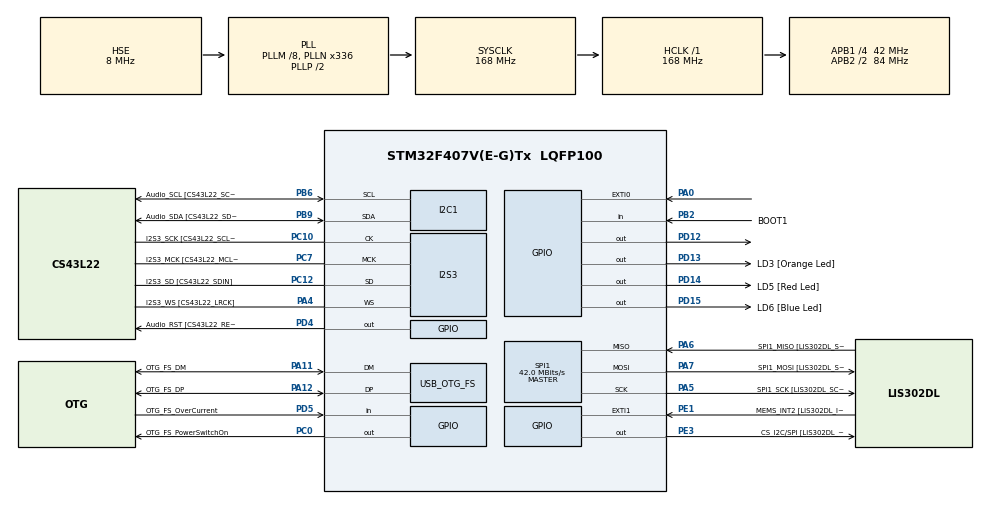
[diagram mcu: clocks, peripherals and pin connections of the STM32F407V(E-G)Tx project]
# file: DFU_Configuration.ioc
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I2S3.AudioFreq=I2S_AUDIOFREQ_96K
I2S3.AudioFreq-Half_Duplex_Master=I2S_AUDIOFREQ_96K
I2S3.ErrorAudioFreq=-2.34 %
I2S3.ErrorAudioFreq-Half_Duplex_Master=0.8 %
I2S3.FullDuplexMode=I2S_FULLDUPLEXMODE_DISABLE
I2S3.Instance=SPI$Index
I2S3.RealAudioFreq=93.75 KHz
I2S3.RealAudioFreq-Half_Duplex_Master=96.774 KHz
I2S3.VirtualMode=I2S_MODE_MASTER
Mcu.Family=STM32F4
Mcu.Name=STM32F407V(E-G)Tx
Mcu.Package=LQFP100
NVIC.EXTI0_IRQn=true\:0\:0\:false\:false\:true\:true\:true\:true
NVIC.OTG_FS_IRQn=true\:0\:0\:false\:false\:true\:true\:true\:true
NVIC.PriorityGroup=NVIC_PRIORITYGROUP_0
PA0-WKUP.GPIO_ModeDefaultEXTI=GPIO_MODE_IT_RISING
PA0-WKUP.GPIO_PuPd=GPIO_PULLUP
PA0-WKUP.Signal=GPXTI0
PA10.GPIO_Label=OTG_FS_ID
PA10.GPIO_Mode=GPIO_MODE_AF_PP
PA10.GPIO_PuPd=GPIO_NOPULL
PA10.GPIO_Speed=GPIO_SPEED_FREQ_LOW
PA10.Signal=USB_OTG_FS_ID
PA11.GPIO_Label=OTG_FS_DM
PA11.GPIO_Mode=GPIO_MODE_AF_PP
PA11.GPIO_PuPd=GPIO_NOPULL
PA11.GPIO_Speed=GPIO_SPEED_FREQ_LOW
PA11.Mode=Device_Only
PA11.Signal=USB_OTG_FS_DM
PA12.GPIO_Label=OTG_FS_DP
PA12.GPIO_Mode=GPIO_MODE_AF_PP
PA12.GPIO_PuPd=GPIO_NOPULL
PA12.GPIO_Speed=GPIO_SPEED_FREQ_LOW
PA12.Mode=Device_Only
PA12.Signal=USB_OTG_FS_DP
PA13.GPIO_Label=SWDIO
PA13.Mode=Trace_Asynchronous_SW
PA13.Signal=SYS_JTMS-SWDIO
PA14.GPIO_Label=SWCLK
PA14.Mode=Trace_Asynchronous_SW
PA14.Signal=SYS_JTCK-SWCLK
PA4.GPIO_Label=I2S3_WS [CS43L22_LRCK]
PA4.GPIO_Mode=GPIO_MODE_AF_PP
PA4.GPIO_PuPd=GPIO_NOPULL
PA4.GPIO_Speed=GPIO_SPEED_FREQ_LOW
PA4.Mode=Half_Duplex_Master
PA4.Signal=I2S3_WS
PA5.GPIO_Label=SPI1_SCK [LIS302DL_SCL/SPC]
PA5.GPIO_Mode=GPIO_MODE_AF_PP
PA5.GPIO_PuPd=GPIO_NOPULL
PA5.GPIO_Speed=GPIO_SPEED_FREQ_LOW
PA5.Mode=Full_Duplex_Master
PA5.Signal=SPI1_SCK
PA6.GPIO_Label=SPI1_MISO [LIS302DL_SDO]
PA6.GPIO_Mode=GPIO_MODE_AF_PP
PA6.GPIO_PuPd=GPIO_NOPULL
PA6.GPIO_Speed=GPIO_SPEED_FREQ_LOW
PA6.Mode=Full_Duplex_Master
PA6.Signal=SPI1_MISO
PA7.GPIO_Label=SPI1_MOSI [LIS302DL_SDA/SDI/SDO]
PA7.GPIO_Mode=GPIO_MODE_AF_PP
PA7.GPIO_PuPd=GPIO_NOPULL
PA7.GPIO_Speed=GPIO_SPEED_FREQ_LOW
PA7.Mode=Full_Duplex_Master
PA7.Signal=SPI1_MOSI
PA9.GPIO_Label=VBUS_FS
PA9.GPIO_Mode=GPIO_MODE_INPUT
PA9.GPIO_PuPd=GPIO_NOPULL
PA9.Signal=USB_OTG_FS_VBUS
PB10.GPIO_Label=CLK_IN [MP45DT02_CLK]
PB10.GPIO_Mode=GPIO_MODE_AF_PP
PB10.GPIO_PuPd=GPIO_NOPULL
PB10.GPIO_Speed=GPIO_SPEED_FREQ_LOW
PB10.Signal=I2S2_CK
PB2.GPIO_Label=BOOT1
PB2.GPIO_Mode=GPIO_MODE_INPUT
PB2.GPIO_PuPd=GPIO_NOPULL
PB2.Signal=GPIO_Input
PB3.GPIO_Label=SWO
PB3.Mode=Trace_Asynchronous_SW
PB3.Signal=SYS_JTDO-SWO
PB6.GPIO_Label=Audio_SCL [CS43L22_SCL]
PB6.GPIO_Mode=GPIO_MODE_AF_OD
PB6.GPIO_Pu=GPIO_PULLUP
PB6.GPIO_PuPd=GPIO_NOPULL
PB6.GPIO_Speed=GPIO_SPEED_FREQ_LOW
PB6.Mode=I2C
PB6.Signal=I2C1_SCL
PB9.GPIO_Label=Audio_SDA [CS43L22_SDA]
PB9.GPIO_Mode=GPIO_MODE_AF_OD
PB9.GPIO_Pu=GPIO_PULLUP
PB9.GPIO_PuPd=GPIO_NOPULL
PB9.GPIO_Speed=GPIO_SPEED_FREQ_LOW
PB9.Mode=I2C
PB9.Signal=I2C1_SDA
PC0.GPIO_Label=OTG_FS_PowerSwitchOn
PC0.GPIO_PuPd=GPIO_NOPULL
PC0.GPIO_Speed=GPIO_SPEED_FREQ_LOW
PC0.PinState=GPIO_PIN_SET
PC0.Signal=GPIO_Output
PC10.GPIO_Label=I2S3_SCK [CS43L22_SCLK]
PC10.GPIO_Mode=GPIO_MODE_AF_PP
PC10.GPIO_PuPd=GPIO_NOPULL
PC10.GPIO_Speed=GPIO_SPEED_FREQ_LOW
PC10.Mode=Half_Duplex_Master
PC10.Signal=I2S3_CK
PC12.GPIO_Label=I2S3_SD [CS43L22_SDIN]
PC12.GPIO_Mode=GPIO_MODE_AF_PP
PC12.GPIO_PuPd=GPIO_NOPULL
PC12.GPIO_Speed=GPIO_SPEED_FREQ_LOW
PC12.Mode=Half_Duplex_Master
PC12.Signal=I2S3_SD
PC14-OSC32_IN.GPIO_Label=PC14-OSC32_IN
PC14-OSC32_IN.Signal=RCC_OSC32_IN
PC15-OSC32_OUT.GPIO_Label=PC15-OSC32_OUT
PC15-OSC32_OUT.Signal=RCC_OSC32_OUT
PC3.GPIO_Label=PDM_OUT [MP45DT02_DOUT]
PC3.GPIO_Mode=GPIO_MODE_AF_PP
PC3.GPIO_PuPd=GPIO_NOPULL
PC3.GPIO_Speed=GPIO_SPEED_FREQ_LOW
PC3.Signal=I2S2_SD
PC7.GPIO_Label=I2S3_MCK [CS43L22_MCLK]
PC7.GPIO_Mode=GPIO_MODE_AF_PP
PC7.GPIO_PuPd=GPIO_NOPULL
PC7.GPIO_Speed=GPIO_SPEED_FREQ_LOW
PC7.Mode=Master_Clock_Activated
PC7.Signal=I2S3_MCK
PD12.Signal=GPIO_Output
PD13.GPIO_Label=LD3 [Orange Led]
PD13.GPIO_PuPd=GPIO_NOPULL
PD13.GPIO_Speed=GPIO_SPEED_FREQ_LOW
PD13.Signal=GPIO_Output
PD14.GPIO_Label=LD5 [Red Led]
PD14.GPIO_PuPd=GPIO_NOPULL
PD14.GPIO_Speed=GPIO_SPEED_FREQ_LOW
PD14.Signal=GPIO_Output
PD15.GPIO_Label=LD6 [Blue Led]
PD15.GPIO_PuPd=GPIO_NOPULL
PD15.GPIO_Speed=GPIO_SPEED_FREQ_LOW
PD15.Signal=GPIO_Output
PD4.GPIO_Label=Audio_RST [CS43L22_RESET]
PD4.GPIO_PuPd=GPIO_NOPULL
PD4.GPIO_Speed=GPIO_SPEED_FREQ_LOW
PD4.Signal=GPIO_Output
PD5.GPIO_Label=OTG_FS_OverCurrent
PD5.GPIO_Mode=GPIO_MODE_INPUT
PD5.GPIO_PuPd=GPIO_NOPULL
PD5.Signal=GPIO_Input
PE1.GPIO_Label=MEMS_INT2 [LIS302DL_INT2]
PE1.GPIO_ModeDefaultEXTI=GPIO_MODE_EVT_RISING
PE1.GPIO_PuPd=GPIO_NOPULL
PE1.Signal=GPXTI1
PE3.GPIO_Label=CS_I2C/SPI [LIS302DL_CS_I2C/SPI]
PE3.GPIO_PuPd=GPIO_NOPULL
PE3.GPIO_Speed=GPIO_SPEED_FREQ_LOW
PE3.Signal=GPIO_Output
PH0-OSC_IN.GPIO_Label=PH0-OSC_IN
PH0-OSC_IN.Mode=HSE-External-Oscillator
PH0-OSC_IN.Signal=RCC_OSC_IN
PH1-OSC_OUT.GPIO_Label=PH1-OSC_OUT
PH1-OSC_OUT.Mode=HSE-External-Oscillator
PH1-OSC_OUT.Signal=RCC_OSC_OUT
ProjectManager.HeapSize=0x200
ProjectManager.StackSize=0x400
ProjectManager.TargetToolchain=STM32CubeIDE
RCC.48MHZClocksFreq_Value=48000000
RCC.AHBFreq_Value=168000000
RCC.APB1CLKDivider=RCC_HCLK_DIV4
RCC.APB1Freq_Value=42000000
RCC.APB1TimFreq_Value=84000000
RCC.APB2CLKDivider=RCC_HCLK_DIV2
RCC.APB2Freq_Value=84000000
RCC.APB2TimFreq_Value=168000000
RCC.CortexFreq_Value=168000000
RCC.HCLKFreq_Value=168000000
RCC.HSE_VALUE=8000000
RCC.HSI_VALUE=16000000
RCC.LSE_VALUE=32768
RCC.PLLM=8
RCC.PLLN=336
RCC.PLLQ=7
RCC.SYSCLKFreq_VALUE=168000000
RCC.SYSCLKSource=RCC_SYSCLKSOURCE_PLLCLK
RCC.VCOOutputFreq_Value=336000000
SPI1.BaudRatePrescaler=SPI_BAUDRATEPRESCALER_2
SPI1.BaudRatePrescaler-Full_Duplex_Master=SPI_BAUDRATEPRESCALER_2
SPI1.CalculateBaudRate=42.0 MBits/s
SPI1.CalculateBaudRate-Full_Duplex_Master=42.0 MBits/s
SPI1.Direction=SPI_DIRECTION_2LINES
SPI1.Mode=SPI_MODE_MASTER
SPI1.Mode-Full_Duplex_Master=SPI_MODE_MASTER
SPI1.VirtualType=VM_MASTER
USB_DEVICE.CLASS_NAME_FS=DFU
USB_DEVICE.USBD_DFU_APP_DEFAULT_ADD-DFU_FS=0x08010000
USB_DEVICE.USBD_DFU_MEDIA-DFU_FS=@Internal Flash   /0x08000000/03*016Ka,01*016Kg,01*064Kg,07*128Kg
USB_DEVICE.VirtualMode-DFU_FS=Dfu
USB_DEVICE.VirtualModeFS=Dfu_FS
USB_OTG_FS.VirtualMode=Device_Only
VP_USB_DEVICE_VS_USB_DEVICE_DFU_FS.Mode=DFU_FS
board=STM32F407G-DISC1

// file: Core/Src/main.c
/* USER CODE BEGIN Header */
/**
  ******************************************************************************
  * @file           : main.c
  * @brief          : Main program body
  ******************************************************************************
  * @attention
  *
  * Copyright (c) 2025 STMicroelectronics.
  * All rights reserved.
  *
  * This software is licensed under terms that can be found in the LICENSE file
  * in the root directory of this software component.
  * If no LICENSE file comes with this software, it is provided AS-IS.
  *
  ******************************************************************************
  */
/* USER CODE END Header */
#include "main.h"
#include "usb_device.h"

/* USER CODE BEGIN PTD */
typedef void (*pFunction)(void);
/* USER CODE END PTD */

/* USER CODE BEGIN PM */
#define DFU_BOOT_FLAG 0xDEADBEEF
/* USER CODE END PM */

I2C_HandleTypeDef hi2c1;

I2S_HandleTypeDef hi2s3;

SPI_HandleTypeDef hspi1;

/* USER CODE BEGIN PV */
extern int _bflag;
uint32_t *dfu_boot_flag;
pFunction JumpToApplication;
uint32_t JumpAddress;
int doJump = 1;

/* USER CODE END PV */

void SystemClock_Config(void);
static void MX_GPIO_Init(void);
static void MX_I2C1_Init(void);
static void MX_I2S3_Init(void);
static void MX_SPI1_Init(void);

/* USER CODE BEGIN 0 */
void HAL_GPIO_EXTI_Callback(uint16_t GPIO_Pin) {
    if (GPIO_Pin == GPIO_PIN_0) // If the button
    {
        printf("Trigger\n\r");
        doJump = 1;
    }
}
/* USER CODE END 0 */

int main(void)
{

  /* USER CODE BEGIN 1 */
	 doJump = 0;

  /* USER CODE END 1 */

  /* MCU Configuration--------------------------------------------------------*/

  /* Reset of all peripherals, Initializes the Flash interface and the Systick. */
  HAL_Init();

  /* Configure the system clock */
  SystemClock_Config();

  /* Initialize all configured peripherals */
  MX_GPIO_Init();
  MX_I2C1_Init();
  MX_I2S3_Init();
  MX_SPI1_Init();
  MX_USB_DEVICE_Init();
  /* USER CODE BEGIN 2 */
  printf("Boot loader Start\n\r");
  /* USER CODE END 2 */

  /* Infinite loop */
  /* USER CODE BEGIN WHILE */
  while (1)
  {
	  HAL_GPIO_TogglePin(GPIOD,GPIO_PIN_12);
	  HAL_Delay(500);
	  HAL_GPIO_TogglePin(GPIOD,GPIO_PIN_12);
	  HAL_Delay(500);
	  HAL_GPIO_TogglePin(GPIOD,GPIO_PIN_12);
	  HAL_Delay(500);
	  HAL_GPIO_TogglePin(GPIOD,GPIO_PIN_12);
	  HAL_Delay(500);

	  if(doJump){
		  doJump=0;
		  dfu_boot_flag = (uint32_t*) (&_bflag); // set in linker script

		  	    if (*dfu_boot_flag != DFU_BOOT_FLAG) {

		  	        /* Test if user code is programmed starting from address 0x08008000 */
		  	        if (((*(__IO uint32_t*) USBD_DFU_APP_DEFAULT_ADD) & 0x2FFC0000)
		  	                == 0x20000000) {

		  	            /* Jump to user application */
		  	            JumpAddress = *(__IO uint32_t*) (USBD_DFU_APP_DEFAULT_ADD + 4);
		  	            JumpToApplication = (pFunction) JumpAddress;

		  	            /* Initialize user application's Stack Pointer */
		  	            __set_MSP(*(__IO uint32_t*) USBD_DFU_APP_DEFAULT_ADD);
		  	            JumpToApplication();
		  	        }

		  	    }

		  	    *dfu_boot_flag = 0; // So next boot won't be affected
	  }

    /* USER CODE END WHILE */

  }
}

void SystemClock_Config(void)
{
  RCC_OscInitTypeDef RCC_OscInitStruct = {0};
  RCC_ClkInitTypeDef RCC_ClkInitStruct = {0};

  /** Configure the main internal regulator output voltage
  */
  __HAL_RCC_PWR_CLK_ENABLE();
  __HAL_PWR_VOLTAGESCALING_CONFIG(PWR_REGULATOR_VOLTAGE_SCALE1);

  /** Initializes the RCC Oscillators according to the specified parameters
  * in the RCC_OscInitTypeDef structure.
  */
  RCC_OscInitStruct.OscillatorType = RCC_OSCILLATORTYPE_HSE;
  RCC_OscInitStruct.HSEState = RCC_HSE_ON;
  RCC_OscInitStruct.PLL.PLLState = RCC_PLL_ON;
  RCC_OscInitStruct.PLL.PLLSource = RCC_PLLSOURCE_HSE;
  RCC_OscInitStruct.PLL.PLLM = 8;
  RCC_OscInitStruct.PLL.PLLN = 336;
  RCC_OscInitStruct.PLL.PLLP = RCC_PLLP_DIV2;
  RCC_OscInitStruct.PLL.PLLQ = 7;
  if (HAL_RCC_OscConfig(&RCC_OscInitStruct) != HAL_OK)
  {
    Error_Handler();
  }

  /** Initializes the CPU, AHB and APB buses clocks
  */
  RCC_ClkInitStruct.ClockType = RCC_CLOCKTYPE_HCLK|RCC_CLOCKTYPE_SYSCLK
                              |RCC_CLOCKTYPE_PCLK1|RCC_CLOCKTYPE_PCLK2;
  RCC_ClkInitStruct.SYSCLKSource = RCC_SYSCLKSOURCE_PLLCLK;
  RCC_ClkInitStruct.AHBCLKDivider = RCC_SYSCLK_DIV1;
  RCC_ClkInitStruct.APB1CLKDivider = RCC_HCLK_DIV4;
  RCC_ClkInitStruct.APB2CLKDivider = RCC_HCLK_DIV2;

  if (HAL_RCC_ClockConfig(&RCC_ClkInitStruct, FLASH_LATENCY_5) != HAL_OK)
  {
    Error_Handler();
  }
}

static void MX_I2C1_Init(void)
{

  hi2c1.Instance = I2C1;
  hi2c1.Init.ClockSpeed = 100000;
  hi2c1.Init.DutyCycle = I2C_DUTYCYCLE_2;
  hi2c1.Init.OwnAddress1 = 0;
  hi2c1.Init.AddressingMode = I2C_ADDRESSINGMODE_7BIT;
  hi2c1.Init.DualAddressMode = I2C_DUALADDRESS_DISABLE;
  hi2c1.Init.OwnAddress2 = 0;
  hi2c1.Init.GeneralCallMode = I2C_GENERALCALL_DISABLE;
  hi2c1.Init.NoStretchMode = I2C_NOSTRETCH_DISABLE;
  if (HAL_I2C_Init(&hi2c1) != HAL_OK)
  {
    Error_Handler();
  }

}

static void MX_I2S3_Init(void)
{

  hi2s3.Instance = SPI3;
  hi2s3.Init.Mode = I2S_MODE_MASTER_TX;
  hi2s3.Init.Standard = I2S_STANDARD_PHILIPS;
  hi2s3.Init.DataFormat = I2S_DATAFORMAT_16B;
  hi2s3.Init.MCLKOutput = I2S_MCLKOUTPUT_ENABLE;
  hi2s3.Init.AudioFreq = I2S_AUDIOFREQ_96K;
  hi2s3.Init.CPOL = I2S_CPOL_LOW;
  hi2s3.Init.ClockSource = I2S_CLOCK_PLL;
  hi2s3.Init.FullDuplexMode = I2S_FULLDUPLEXMODE_DISABLE;
  if (HAL_I2S_Init(&hi2s3) != HAL_OK)
  {
    Error_Handler();
  }

}

static void MX_SPI1_Init(void)
{

  /* SPI1 parameter configuration*/
  hspi1.Instance = SPI1;
  hspi1.Init.Mode = SPI_MODE_MASTER;
  hspi1.Init.Direction = SPI_DIRECTION_2LINES;
  hspi1.Init.DataSize = SPI_DATASIZE_8BIT;
  hspi1.Init.CLKPolarity = SPI_POLARITY_LOW;
  hspi1.Init.CLKPhase = SPI_PHASE_1EDGE;
  hspi1.Init.NSS = SPI_NSS_SOFT;
  hspi1.Init.BaudRatePrescaler = SPI_BAUDRATEPRESCALER_2;
  hspi1.Init.FirstBit = SPI_FIRSTBIT_MSB;
  hspi1.Init.TIMode = SPI_TIMODE_DISABLE;
  hspi1.Init.CRCCalculation = SPI_CRCCALCULATION_DISABLE;
  hspi1.Init.CRCPolynomial = 10;
  if (HAL_SPI_Init(&hspi1) != HAL_OK)
  {
    Error_Handler();
  }

}

static void MX_GPIO_Init(void)
{
  GPIO_InitTypeDef GPIO_InitStruct = {0};

  /* GPIO Ports Clock Enable */
  __HAL_RCC_GPIOE_CLK_ENABLE();
  __HAL_RCC_GPIOC_CLK_ENABLE();
  __HAL_RCC_GPIOH_CLK_ENABLE();
  __HAL_RCC_GPIOA_CLK_ENABLE();
  __HAL_RCC_GPIOB_CLK_ENABLE();
  __HAL_RCC_GPIOD_CLK_ENABLE();

  /*Configure GPIO pin Output Level */
  HAL_GPIO_WritePin(CS_I2C_SPI_GPIO_Port, CS_I2C_SPI_Pin, GPIO_PIN_RESET);

  /*Configure GPIO pin Output Level */
  HAL_GPIO_WritePin(OTG_FS_PowerSwitchOn_GPIO_Port, OTG_FS_PowerSwitchOn_Pin, GPIO_PIN_SET);

  /*Configure GPIO pin Output Level */
  HAL_GPIO_WritePin(GPIOD, GPIO_PIN_12|LD3_Pin|LD5_Pin|LD6_Pin
                          |Audio_RST_Pin, GPIO_PIN_RESET);

  /*Configure GPIO pin : CS_I2C_SPI_Pin */
  GPIO_InitStruct.Pin = CS_I2C_SPI_Pin;
  GPIO_InitStruct.Mode = GPIO_MODE_OUTPUT_PP;
  GPIO_InitStruct.Pull = GPIO_NOPULL;
  GPIO_InitStruct.Speed = GPIO_SPEED_FREQ_LOW;
  HAL_GPIO_Init(CS_I2C_SPI_GPIO_Port, &GPIO_InitStruct);

  /*Configure GPIO pin : OTG_FS_PowerSwitchOn_Pin */
  GPIO_InitStruct.Pin = OTG_FS_PowerSwitchOn_Pin;
  GPIO_InitStruct.Mode = GPIO_MODE_OUTPUT_PP;
  GPIO_InitStruct.Pull = GPIO_NOPULL;
  GPIO_InitStruct.Speed = GPIO_SPEED_FREQ_LOW;
  HAL_GPIO_Init(OTG_FS_PowerSwitchOn_GPIO_Port, &GPIO_InitStruct);

  /*Configure GPIO pin : PDM_OUT_Pin */
  GPIO_InitStruct.Pin = PDM_OUT_Pin;
  GPIO_InitStruct.Mode = GPIO_MODE_AF_PP;
  GPIO_InitStruct.Pull = GPIO_NOPULL;
  GPIO_InitStruct.Speed = GPIO_SPEED_FREQ_LOW;
  GPIO_InitStruct.Alternate = GPIO_AF5_SPI2;
  HAL_GPIO_Init(PDM_OUT_GPIO_Port, &GPIO_InitStruct);

  /*Configure GPIO pin : PA0 */
  GPIO_InitStruct.Pin = GPIO_PIN_0;
  GPIO_InitStruct.Mode = GPIO_MODE_IT_RISING;
  GPIO_InitStruct.Pull = GPIO_PULLUP;
  HAL_GPIO_Init(GPIOA, &GPIO_InitStruct);

  /*Configure GPIO pin : BOOT1_Pin */
  GPIO_InitStruct.Pin = BOOT1_Pin;
  GPIO_InitStruct.Mode = GPIO_MODE_INPUT;
  GPIO_InitStruct.Pull = GPIO_NOPULL;
  HAL_GPIO_Init(BOOT1_GPIO_Port, &GPIO_InitStruct);

  /*Configure GPIO pin : CLK_IN_Pin */
  GPIO_InitStruct.Pin = CLK_IN_Pin;
  GPIO_InitStruct.Mode = GPIO_MODE_AF_PP;
  GPIO_InitStruct.Pull = GPIO_NOPULL;
  GPIO_InitStruct.Speed = GPIO_SPEED_FREQ_LOW;
  GPIO_InitStruct.Alternate = GPIO_AF5_SPI2;
  HAL_GPIO_Init(CLK_IN_GPIO_Port, &GPIO_InitStruct);

  /*Configure GPIO pins : PD12 LD3_Pin LD5_Pin LD6_Pin
                           Audio_RST_Pin */
  GPIO_InitStruct.Pin = GPIO_PIN_12|LD3_Pin|LD5_Pin|LD6_Pin
                          |Audio_RST_Pin;
  GPIO_InitStruct.Mode = GPIO_MODE_OUTPUT_PP;
  GPIO_InitStruct.Pull = GPIO_NOPULL;
  GPIO_InitStruct.Speed = GPIO_SPEED_FREQ_LOW;
  HAL_GPIO_Init(GPIOD, &GPIO_InitStruct);

  /*Configure GPIO pin : OTG_FS_OverCurrent_Pin */
  GPIO_InitStruct.Pin = OTG_FS_OverCurrent_Pin;
  GPIO_InitStruct.Mode = GPIO_MODE_INPUT;
  GPIO_InitStruct.Pull = GPIO_NOPULL;
  HAL_GPIO_Init(OTG_FS_OverCurrent_GPIO_Port, &GPIO_InitStruct);

  /*Configure GPIO pin : MEMS_INT2_Pin */
  GPIO_InitStruct.Pin = MEMS_INT2_Pin;
  GPIO_InitStruct.Mode = GPIO_MODE_EVT_RISING;
  GPIO_InitStruct.Pull = GPIO_NOPULL;
  HAL_GPIO_Init(MEMS_INT2_GPIO_Port, &GPIO_InitStruct);

  /* EXTI interrupt init*/
  HAL_NVIC_SetPriority(EXTI0_IRQn, 0, 0);
  HAL_NVIC_EnableIRQ(EXTI0_IRQn);

}

void Error_Handler(void)
{
  __disable_irq();
  while (1)
  {
  }
}
